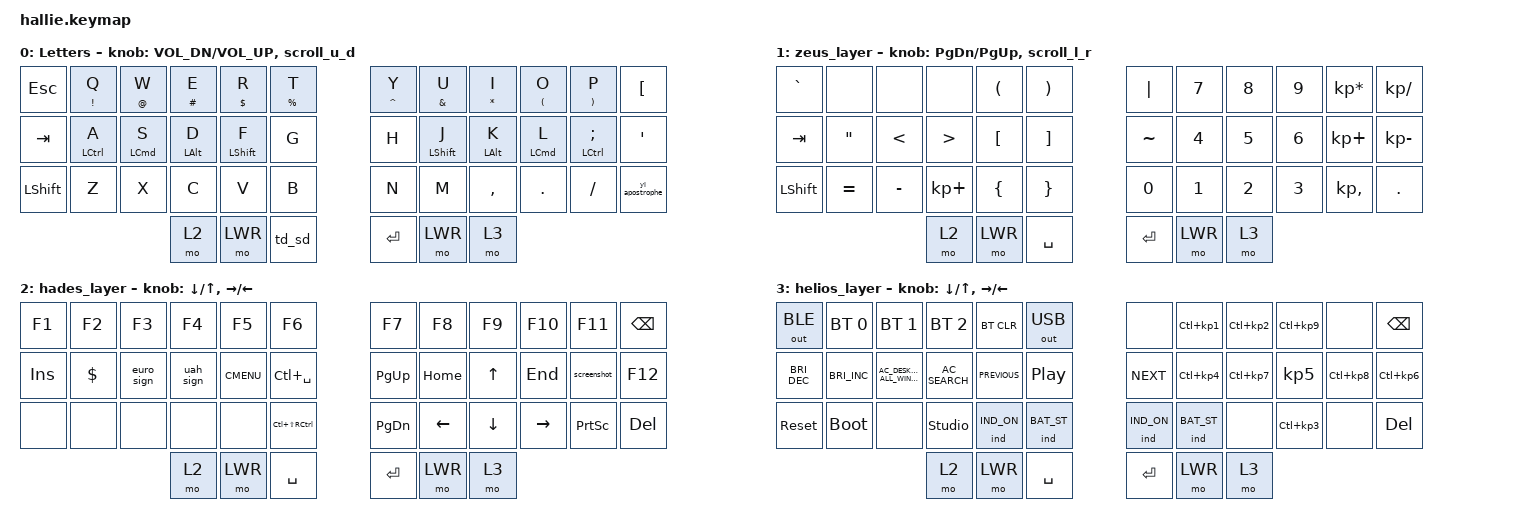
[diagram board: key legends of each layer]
#undef ZMK_BEHAVIORS_KEEP_ALL

#define ZMK_BEHAVIORS_KEEP_IND
#define ZMK_BEHAVIORS_KEEP_BT
#define ZMK_BEHAVIORS_KEEP_GRESC
#define ZMK_BEHAVIORS_KEEP_SYS_RESET
#define ZMK_BEHAVIORS_KEEP_BOOTLOADER
#define ZMK_BEHAVIORS_KEEP_CAPS_WORD
#define ZMK_BEHAVIORS_KEEP_KEY_REPEAT
#define ZMK_BEHAVIORS_KEEP_KT
#define ZMK_BEHAVIORS_KEEP_LT
#define ZMK_BEHAVIORS_KEEP_MT
#define ZMK_BEHAVIORS_KEEP_SK
#define ZMK_BEHAVIORS_KEEP_STICKY_LAYER
#define ZMK_BEHAVIORS_KEEP_TO
#define ZMK_BEHAVIORS_KEEP_TOG
#define ZMK_BEHAVIORS_KEEP_TRANS

#include <dt-bindings/zmk/indicators.h>
#include <behaviors.dtsi>
#include <dt-bindings/zmk/bt.h>
#include <dt-bindings/zmk/keys.h>
#include <dt-bindings/zmk/outputs.h>

#define DEF 0
#define LWR 1
#define RSE 2
#define ADJ 3

&lt { quick_tap_ms = <200>; };

&mt {
    quick_tap_ms = <200>;
    tapping-term-ms = <300>;
    bindings = <&kp>, <&kp>;

    flavor = "tap-preferred";
    quick-tap-ms = <1>;
};

/ {
    macros {
        euro_sign: euro_sign {
            compatible = "zmk,behavior-macro";
            #binding-cells = <0>;
            bindings = <&kt LEFT_ALT &kt LEFT_SHIFT &kp NUMBER_2 &kt LEFT_ALT &kt LEFT_SHIFT>;
            label = "EURO_SIGN";
        };

        uah_sign: uah_sign {
            compatible = "zmk,behavior-macro";
            #binding-cells = <0>;
            bindings = <&kp AMPERSAND &kp I &kp A &kp M &kp SPACE>;
            label = "UAH_SIGN";
        };

        screenshot: screenshot {
            compatible = "zmk,behavior-macro";
            #binding-cells = <0>;
            bindings = <&kt LEFT_COMMAND &kt LEFT_SHIFT &kp NUMBER_4 &kt LEFT_COMMAND &kt LEFT_SHIFT>;
            label = "SCREENSHOT";
        };

        move2lefthalf: move2lefthalf {
            compatible = "zmk,behavior-macro";
            #binding-cells = <0>;
            bindings = <&kt LEFT_CONTROL &kp KP_NUMBER_7 &kt LEFT_CONTROL>;
            label = "MOVE2LEFTHALF";
        };

        move2righthalf: move2righthalf {
            compatible = "zmk,behavior-macro";
            #binding-cells = <0>;
            bindings = <&kt LEFT_CONTROL &kp KP_NUMBER_8 &kt LEFT_CONTROL>;
            label = "MOVE2RIGHTHALF";
        };

        move2upperhalf: move2upperhalf {
            compatible = "zmk,behavior-macro";
            #binding-cells = <0>;
            bindings = <&kt LEFT_CONTROL &kp KP_NUMBER_9 &kt LEFT_CONTROL>;
            label = "MOVE2UPPERHALF";
        };

        move2lefthird: move2lefthird {
            compatible = "zmk,behavior-macro";
            #binding-cells = <0>;
            bindings = <&kt LEFT_CONTROL &kp KP_NUMBER_4 &kt LEFT_CONTROL>;
            label = "MOVE2LEFTHIRD";
        };

        move2middlethird: move2middlethird {
            compatible = "zmk,behavior-macro";
            #binding-cells = <0>;
            bindings = <&kp LEFT_CONTROL &kp KP_NUMBER_5 &kt LEFT_CONTROL>;
            label = "MOVE2MIDDLETHIRD";
        };

        move2rightthird: move2rightthird {
            compatible = "zmk,behavior-macro";
            #binding-cells = <0>;
            bindings = <&kt LEFT_CONTROL &kp KP_NUMBER_6 &kt LEFT_CONTROL>;
            label = "MOVE2RIGHTTHIRD";
        };

        move2lowerhalf: move2lowerhalf {
            compatible = "zmk,behavior-macro";
            #binding-cells = <0>;
            bindings = <&kt LEFT_CONTROL &kp KP_NUMBER_3 &kt LEFT_CONTROL>;
            label = "MOVE2LOWERHALF";
        };

        push2leftdisplay: push2leftdisplay {
            compatible = "zmk,behavior-macro";
            #binding-cells = <0>;
            bindings = <&kt LEFT_CONTROL &kp KP_NUMBER_1 &kt LEFT_CONTROL>;
            label = "PUSH2LEFTDISPLAY";
        };

        push2rightdisplay: push2rightdisplay {
            compatible = "zmk,behavior-macro";
            #binding-cells = <0>;
            bindings = <&kt LEFT_CONTROL &kp KP_NUMBER_2 &kt LEFT_CONTROL>;
            label = "PUSH2RIGHTDISPLAY";
        };

        raycast: raycast {
            compatible = "zmk,behavior-macro";
            #binding-cells = <0>;
            bindings = <&kt LC(LS(D))>;
            label = "RAYCAST";
        };
    };

    behaviors {
        td_sd: td_sd {
            compatible = "zmk,behavior-tap-dance";
            label = "space_dot";
            #binding-cells = <0>;
            bindings = <&kp SPACE>, <&kp PERIOD>;
        };

        yi_apostrophe: yi_apostrophe {
            compatible = "zmk,behavior-tap-dance";
            label = "YI_APOSTROPHE";
            #binding-cells = <0>;
            bindings = <&kp RIGHT_BRACKET>, <&kp BACKSLASH>;
        };

        kt_on: kt_on {
            compatible = "zmk,behavior-key-toggle";
            label = "KT_ON";
            #binding-cells = <1>;
        };

        kt_off: kt_off {
            compatible = "zmk,behavior-key-toggle";
            label = "KT_OFF";
            #binding-cells = <1>;
            toggle-mode = "off";
        };
    };

    keymap {
        compatible = "zmk,keymap";

        Letters {
            bindings = <
&kp ESC    &mt EXCLAMATION Q   &mt AT_SIGN W       &mt HASH E      &mt DOLLAR R      &mt PERCENT T    &mt CARET Y  &mt AMPERSAND U   &mt ASTERISK I  &mt LEFT_PARENTHESIS O  &mt RIGHT_PARENTHESIS P     &kp LEFT_BRACKET
&kp TAB    &mt LEFT_CONTROL A  &mt LEFT_COMMAND S  &mt LEFT_ALT D  &mt LEFT_SHIFT F  &kp G            &kp H        &mt LEFT_SHIFT J  &mt LEFT_ALT K  &mt LEFT_COMMAND L      &mt LEFT_CONTROL SEMICOLON  &kp SQT
&kp LSHFT  &kp Z               &kp X               &kp C           &kp V             &kp B            &kp N        &kp M             &kp COMMA       &kp DOT                 &kp SLASH                   &yi_apostrophe
                                                   &mo 2           &mo LWR           &td_sd           &kp ENTER    &mo LWR           &mo 3
            >;

            sensor-bindings = <&inc_dec_kp C_VOL_DN C_VOL_UP &scroll_u_d>;
        };

        zeus_layer {
            bindings = <
&kp GRAVE  &none              &none          &none             &kp LEFT_PARENTHESIS  &kp RIGHT_PARENTHESIS    &kp PIPE   &kp N7   &kp N8  &kp N9  &kp KP_MULTIPLY  &kp KP_DIVIDE
&kp TAB    &kp DOUBLE_QUOTES  &kp LESS_THAN  &kp GREATER_THAN  &kp LBKT              &kp RBKT                 &kp TILDE  &kp N4   &kp N5  &kp N6  &kp KP_PLUS      &kp KP_MINUS
&kp LSHFT  &kp EQUAL          &kp MINUS      &kp KP_PLUS       &kp LBRC              &kp RBRC                 &kp N0     &kp N1   &kp N2  &kp N3  &kp KP_COMMA     &kp DOT
                                             &mo 2             &mo LWR               &kp SPACE                &kp ENTER  &mo LWR  &mo 3
            >;

            sensor-bindings = <&inc_dec_kp PG_DN PG_UP &scroll_l_r>;
        };

        hades_layer {
            bindings = <
&kp F1   &kp F2      &kp F3      &kp F4     &kp F5       &kp F6                       &kp F7     &kp F8    &kp F9    &kp F10    &kp F11          &kp BACKSPACE
&kp INS  &kp DOLLAR  &euro_sign  &uah_sign  &kp K_CMENU  &kp LC(SPACE)                &kp PG_UP  &kp HOME  &kp UP    &kp END    &screenshot      &kp F12
&none    &none       &none       &none      &none        &kp LC(LS(RIGHT_CONTROL))    &kp PG_DN  &kp LEFT  &kp DOWN  &kp RIGHT  &kp PRINTSCREEN  &kp DEL
                                 &mo 2      &mo LWR      &kp SPACE                    &kp ENTER  &mo LWR   &mo 3
            >;

            sensor-bindings = <&inc_dec_kp DOWN_ARROW UP_ARROW &inc_dec_kp RIGHT_ARROW LEFT_ARROW>;
        };

        helios_layer {
            bindings = <
&out OUT_BLE          &bt BT_SEL 0          &bt BT_SEL 1                       &bt BT_SEL 2     &bt BT_CLR      &out OUT_USB        &none        &kp LC(KP_NUMBER_1)  &kp LC(KP_NUMBER_2)  &kp LC(KP_NUMBER_9)  &none                &kp BACKSPACE
&kp C_BRIGHTNESS_DEC  &kp C_BRIGHTNESS_INC  &kp C_AC_DESKTOP_SHOW_ALL_WINDOWS  &kp C_AC_SEARCH  &kp C_PREVIOUS  &kp C_PLAY_PAUSE    &kp C_NEXT   &kp LC(KP_NUMBER_4)  &kp LC(KP_NUMBER_7)  &kp KP_NUMBER_5      &kp LC(KP_NUMBER_8)  &kp LC(KP_NUMBER_6)
&sys_reset            &bootloader           &none                              &studio_unlock   &ind IND_ON     &ind BAT_ST         &ind IND_ON  &ind BAT_ST          &none                &kp LC(KP_NUMBER_3)  &none                &kp DEL
                                                                               &mo 2            &mo LWR         &kp SPACE           &kp ENTER    &mo LWR              &mo 3
            >;

            sensor-bindings = <&inc_dec_kp DOWN_ARROW UP_ARROW &inc_dec_kp RIGHT_ARROW LEFT_ARROW>;
        };

        extra1 { status = "reserved"; };

        extra2 { status = "reserved"; };

        extra3 { status = "reserved"; };

        extra4 { status = "reserved"; };
    };
};
